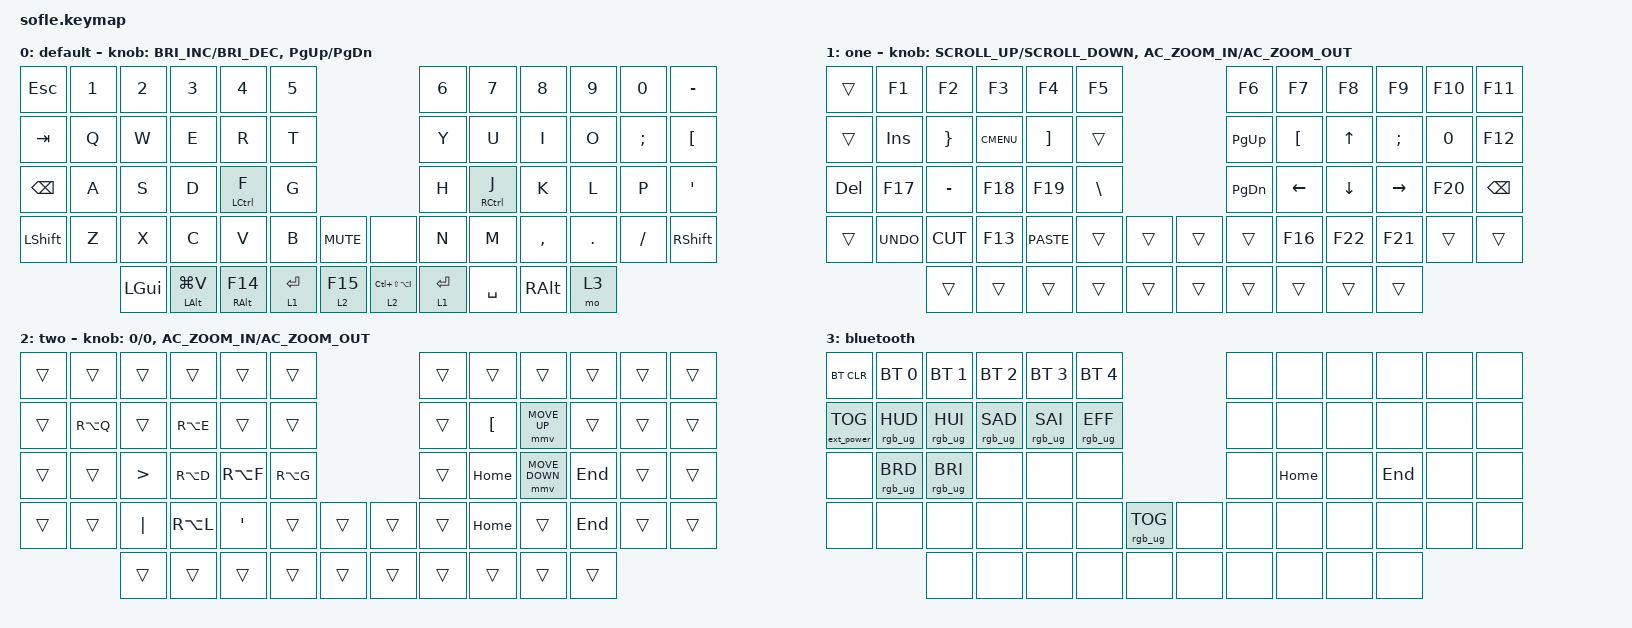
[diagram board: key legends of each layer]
/*
 * Copyright (c) 2020 The ZMK Contributors
 *
 * SPDX-License-Identifier: MIT
 */

#include <behaviors.dtsi>
#include <dt-bindings/zmk/bt.h>
#include <dt-bindings/zmk/ext_power.h>
#include <dt-bindings/zmk/keys.h>
#include <dt-bindings/zmk/pointing.h>
#include <dt-bindings/zmk/rgb.h>

#define BASE 0
#define LOWER 1
#define RAISE 2
#define ADJUST 3

&mt { flavor = "balanced"; };

/ {
    // Activate ADJUST layer by pressing raise and lower

    conditional_layers { compatible = "zmk,conditional-layers"; };

    combos {
        compatible = "zmk,combos";

        letztesWort {
            bindings = <&kp LS(LC(LEFT_ARROW))>;
            key-positions = <49 24>;
        };

        Capslock {
            bindings = <&kp CAPSLOCK>;
            key-positions = <36 49>;
        };

        Bluetooth_Layer {
            bindings = <&mo 3>;
            key-positions = <54 55>;
        };
    };

    behaviors {
        new_behavior: new_behavior {
            compatible = "zmk,behavior-hold-tap";
            label = "NEW_BEHAVIOR";
            bindings = <&kp>, <&kp>;

            #binding-cells = <2>;
            hold-trigger-key-positions = <28 31>;
            flavor = "balanced";
            tapping-term-ms = <280>;
            require-prior-idle-ms = <150>;
            quick-tap-ms = <175>;
            hold-while-undecided;
            hold-trigger-on-release;
        };
    };

    keymap {
        compatible = "zmk,keymap";

        default_layer {
            display-name = "default";

            // ------------------------------------------------------------------------------------------------------------
            // |   `   |  1  |  2  |  3   |  4   |  5   |                   |  6   |  7    |  8    |  9   |   0   |  F5   |
            // |  ESC  |  Q  |  W  |  E   |  R   |  T   |                   |  Y   |  U    |  I    |  O   |   P   | BKSPC |
            // |  TAB  |  A  |  S  |  D   |  F   |  G   |                   |  H   |  J    |  K    |  L   |   ;   |   '   |
            // | SHIFT |  Z  |  X  |  C   |  V   |  B   |  MUTE  |  |       |  N   |  M    |  ,    |  .   |   /   | SHIFT |
            //               | GUI | ALT  | CTRL | LOWER|  ENTER |  | SPACE | RAISE| CTRL  | ALT   | GUI  |

            bindings = <
&kp ESCAPE     &kp N1  &kp N2        &kp N3              &kp N4              &kp N5                                          &kp N6       &kp N7               &kp N8     &kp N9   &kp N0    &kp MINUS
&kp TAB        &kp Q   &kp W         &kp E               &kp R               &kp T                                           &kp Y        &kp U                &kp I      &kp O    &kp SEMI  &kp LBKT
&kp BACKSPACE  &kp A   &kp S         &kp D               &mt LEFT_CONTROL F  &kp G                                           &kp H        &mt RIGHT_CONTROL J  &kp K      &kp L    &kp P     &kp SQT
&kp LSHFT      &kp Z   &kp X         &kp C               &kp V               &kp B        &kp C_MUTE    &none                &kp N        &kp M                &kp COMMA  &kp DOT  &kp FSLH  &kp RSHIFT
                       &kp LEFT_GUI  &mt LEFT_ALT LG(V)  &mt RIGHT_ALT F14   &lt 1 ENTER  &lt 2 F15     &lt 2 LC(LS(LA(I)))  &lt 1 ENTER  &kp SPACE            &kp RALT   &mo 3
            >;

            sensor-bindings =
                <&inc_dec_kp C_BRIGHTNESS_INC C_BRIGHTNESS_DEC>,
                <&inc_dec_kp PG_UP PG_DN>;
        };

        layer_1 {
            display-name = "one";

            // ------------------------------------------------------------------------------------------------------------
            // | BTCLR | BT1  | BT2  |  BT3  |  BT4  |  BT5 |                |      |      |       |      |       |       |
            // |       | INS  | PSCR | GUI   |       |      |                | PGUP |      |   ^   |      |       |       |
            // |       | ALT  | CTRL | SHIFT |       | CAPS |                | PGDN |   <- |   v   |  ->  |  DEL  | BKSPC |
            // |       | UNDO | CUT  | COPY  | PASTE |      |      |  |      |      |      |       |      |       |       |
            //                |      |       |       |      |      |  |      |      |      |       |      |

            bindings = <
&trans   &kp F1      &kp F2           &kp F3       &kp F4             &kp F5                           &kp F6     &kp F7            &kp F8    &kp F9         &kp F10  &kp F11
&trans   &kp INS     &kp RIGHT_BRACE  &kp K_CMENU  &kp RIGHT_BRACKET  &trans                           &kp PG_UP  &kp LEFT_BRACKET  &kp UP    &kp SEMICOLON  &kp N0   &kp F12
&kp DEL  &kp F17     &kp MINUS        &kp F18      &kp F19            &kp BACKSLASH                    &kp PG_DN  &kp LEFT          &kp DOWN  &kp RIGHT      &kp F20  &kp BSPC
&trans   &kp K_UNDO  &kp K_CUT        &kp F13      &kp K_PASTE        &trans         &trans    &trans  &trans     &kp F16           &kp F22   &kp F21        &trans   &trans
                     &trans           &trans       &trans             &trans         &trans    &trans  &trans     &trans            &trans    &trans
            >;

            sensor-bindings =
                <&inc_dec_kp K_SCROLL_UP K_SCROLL_DOWN>,
                <&inc_dec_kp C_AC_ZOOM_IN C_AC_ZOOM_OUT>;
        };

        layer_2 {
            bindings = <
&trans  &trans     &trans            &trans     &trans            &trans                       &trans  &trans            &trans          &trans   &trans  &trans
&trans  &kp RA(Q)  &trans            &kp RA(E)  &trans            &trans                       &trans  &kp LEFT_BRACKET  &mmv MOVE_UP    &trans   &trans  &trans
&trans  &trans     &kp GREATER_THAN  &kp RA(D)  &kp RA(F)         &kp RA(G)                    &trans  &kp HOME          &mmv MOVE_DOWN  &kp END  &trans  &trans
&trans  &trans     &kp PIPE          &kp RA(L)  &kp SINGLE_QUOTE  &trans     &trans    &trans  &trans  &kp HOME          &trans          &kp END  &trans  &trans
                   &trans            &trans     &trans            &trans     &trans    &trans  &trans  &trans            &trans          &trans
            >;

            label = "two";
            sensor-bindings =
                <&inc_dec_kp 0 0>,
                <&inc_dec_kp C_AC_ZOOM_IN C_AC_ZOOM_OUT>;
        };

        bluetooth {
            // ----------------------------------------------------------------------------------------------------------------------------
            // | BTCLR  |  BT1    |  BT2    |   BT3   |   BT4   |   BT5   |                  |      |      |       |      |       |       |
            // | EXTPWR | RGB_HUD | RGB_HUI | RGB_SAD | RGB_SAI | RGB_EFF |                  |      |      |       |      |       |       |
            // |        | RGB_BRD | RGB_BRI |         |         |         |                  |      |      |       |      |       |       |
            // |        |         |         |         |         |         | RGB_TOG | |      |      |      |       |      |       |       |
            //                    |         |         |         |         |         | |      |      |      |       |      |

            display-name = "bluetooth";
            bindings = <
&bt BT_CLR         &bt BT_SEL 0     &bt BT_SEL 1     &bt BT_SEL 2     &bt BT_SEL 3     &bt BT_SEL 4                               &none  &none     &none  &none    &none  &none
&ext_power EP_TOG  &rgb_ug RGB_HUD  &rgb_ug RGB_HUI  &rgb_ug RGB_SAD  &rgb_ug RGB_SAI  &rgb_ug RGB_EFF                            &none  &none     &none  &none    &none  &none
&none              &rgb_ug RGB_BRD  &rgb_ug RGB_BRI  &none            &none            &none                                      &none  &kp HOME  &none  &kp END  &none  &none
&none              &none            &none            &none            &none            &none            &rgb_ug RGB_TOG    &none  &none  &none     &none  &none    &none  &none
                                    &none            &none            &none            &none            &none              &none  &none  &none     &none  &none
            >;
        };
    };
};
